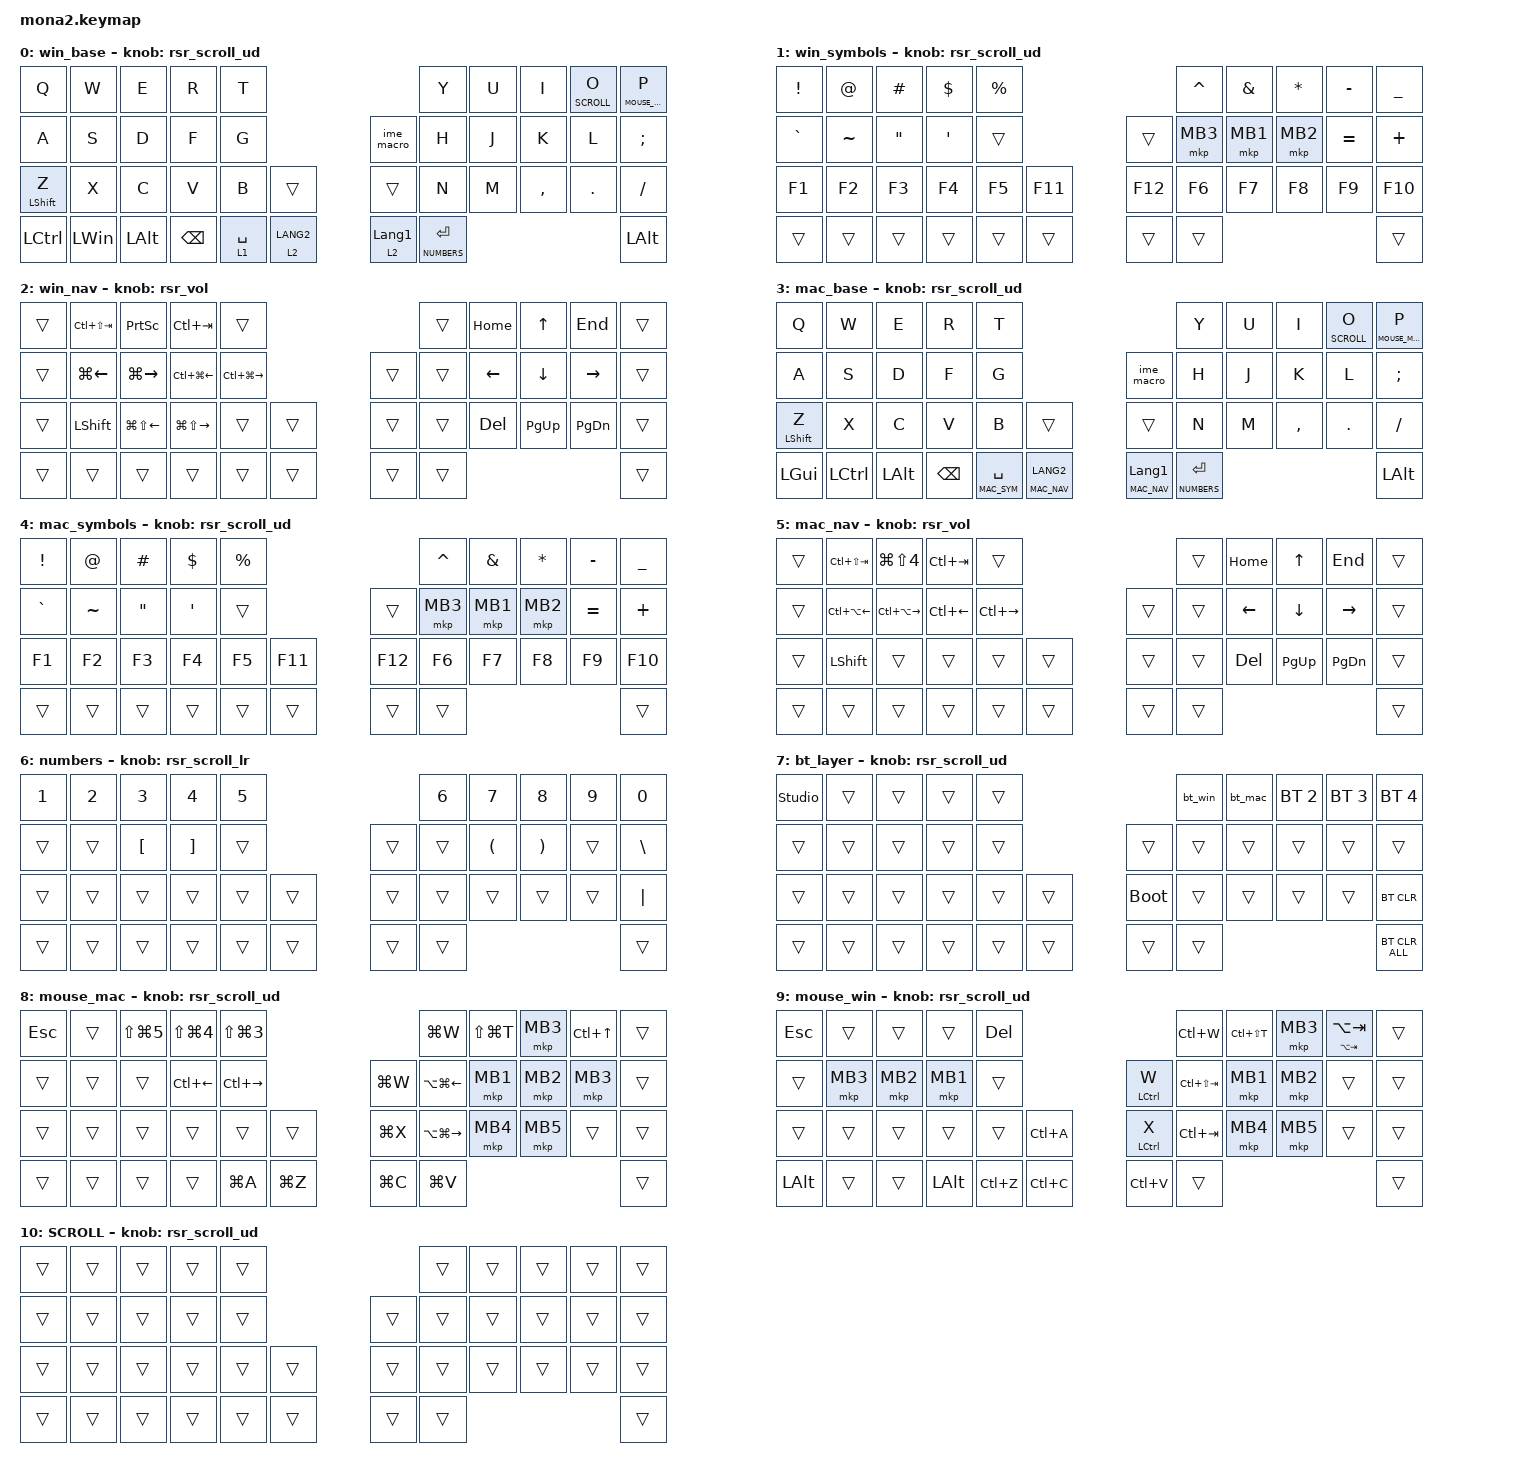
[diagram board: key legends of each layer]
#include <input/processors.dtsi>
#include <input/processors/runtime-input-processor.dtsi>
#include <behaviors/runtime-sensor-rotate.dtsi>
#include <dt-bindings/zmk/input_transform.h>
#include <zephyr/dt-bindings/input/input-event-codes.h>
#include <behaviors.dtsi>
#include <dt-bindings/zmk/bt.h>
#include <dt-bindings/zmk/keys.h>
#include <dt-bindings/zmk/pointing.h>

#undef ZMK_POINTING_DEFAULT_SCRL_VAL
#define ZMK_POINTING_DEFAULT_SCRL_VAL 30
#define MAC_BASE 3
#define MAC_SYM 4
#define MAC_NAV 5
#define NUMBERS 6
#define BT_LAYER 7
#define MOUSE_MAC 8
#define MOUSE_WIN 9
#define SCROLL 10

&mt {
    flavor = "balanced";
    quick-tap-ms = <0>;
};

&lt {
    quick-tap-ms = <300>;
    flavor = "balanced";
};

/ {
    combos {
        compatible = "zmk,combos";

        bt_layer_ESC {
            bindings = <&lt BT_LAYER ESC>;
            key-positions = <39 38>;
        };

        tab {
            bindings = <&kp TAB>;
            key-positions = <11 12>;
        };
    };

    macros {
        to_layer_0: to_layer_0 {
            compatible = "zmk,behavior-macro-one-param";
            #binding-cells = <1>;
            bindings = <&to 0 &macro_param_1to1 &kp MACRO_PLACEHOLDER>;
            label = "TO_LAYER_0";
        };

        ime_macro: ime_macro {
            compatible = "zmk,behavior-macro";
            #binding-cells = <0>;
            bindings = <&kp F13>;
            label = "IME_MACRO";
        };

        bt_win: bt_win {
            compatible = "zmk,behavior-macro";
            #binding-cells = <0>;
            bindings = <&bt BT_SEL 0>, <&to 0>;
            label = "BT_WIN";
        };

        bt_mac: bt_mac {
            compatible = "zmk,behavior-macro";
            #binding-cells = <0>;
            bindings = <&bt BT_SEL 1>, <&to 0>, <&tog MAC_BASE>;
            label = "BT_MAC";
        };
    };

    behaviors {
        lt_to_layer_0: lt_to_layer_0 {
            compatible = "zmk,behavior-hold-tap";
            label = "LAYER_TAP_TO_0";
            bindings = <&mo>, <&to_layer_0>;

            #binding-cells = <2>;
            tapping-term-ms = <200>;
        };

        // DYA Studio: Runtime sensor rotate behaviors for encoder
        rsr_vol: rsr_vol {
            compatible = "zmk,behavior-runtime-sensor-rotate";
            #sensor-binding-cells = <0>;
            tap-ms = <20>;
            cw-binding = <&kp C_VOL_DN>;
            ccw-binding = <&kp C_VOL_UP>;
        };

        rsr_scroll_ud: rsr_scroll_ud {
            compatible = "zmk,behavior-runtime-sensor-rotate";
            #sensor-binding-cells = <0>;
            tap-ms = <20>;
            cw-binding = <&msc SCRL_DOWN>;
            ccw-binding = <&msc SCRL_UP>;
        };

        rsr_scroll_lr: rsr_scroll_lr {
            compatible = "zmk,behavior-runtime-sensor-rotate";
            #sensor-binding-cells = <0>;
            tap-ms = <20>;
            cw-binding = <&msc SCRL_LEFT>;
            ccw-binding = <&msc SCRL_RIGHT>;
        };
    };

    keymap {
        compatible = "zmk,keymap";

        // ==========================================
        // Layer 0: Windows Base
        // ==========================================

        win_base {
            bindings = <
&kp Q             &kp W         &kp E     &kp R          &kp T                                                                  &kp Y        &kp U  &kp I      &lt SCROLL O  &lt MOUSE_WIN P
&kp A             &kp S         &kp D     &kp F          &kp G                                  &ime_macro                       &kp H        &kp J  &kp K      &kp L         &kp SEMICOLON
&mt LEFT_SHIFT Z  &kp X         &kp C     &kp V          &kp B        &trans                     &trans                           &kp N        &kp M  &kp COMMA  &kp DOT       &kp SLASH
&kp LCTRL         &kp LEFT_WIN  &kp LALT  &kp BACKSPACE  &lt 1 SPACE  &lt_to_layer_0 2 LANG2     &lt_to_layer_0 2 LANGUAGE_1      &lt NUMBERS ENTER                            &kp LEFT_ALT
            >;

            sensor-bindings = <&rsr_scroll_ud>;
        };

        // ==========================================
        // Layer 1: Windows Symbols
        // ==========================================

        win_symbols {
            bindings = <
&kp EXCLAMATION  &kp AT_SIGN  &kp POUND          &kp DOLLAR  &kp PERCENT                      &kp CARET  &kp AMPERSAND  &kp ASTERISK  &kp MINUS  &kp UNDERSCORE
&kp GRAVE        &kp TILDE    &kp DOUBLE_QUOTES  &kp SQT     &trans                  &trans   &mkp MB3   &mkp MB1       &mkp MB2      &kp EQUAL  &kp PLUS
&kp F1           &kp F2       &kp F3             &kp F4      &kp F5       &kp F11    &kp F12  &kp F6     &kp F7         &kp F8        &kp F9     &kp F10
&trans           &trans       &trans             &trans      &trans       &trans     &trans   &trans                                             &trans
            >;

            sensor-bindings = <&rsr_scroll_ud>;
        };

        // ==========================================
        // Layer 2: Windows Nav
        // ==========================================

        win_nav {
            bindings = <
&trans  &kp LC(LS(TAB))     &kp PRINTSCREEN         &kp LC(TAB)              &trans                                     &trans  &kp HOME        &kp UP_ARROW    &kp END          &trans
&trans  &kp LG(LEFT_ARROW)  &kp LG(RIGHT_ARROW)     &kp LC(LG(LEFT_ARROW))   &kp LC(LG(RIGHT_ARROW))            &trans  &trans  &kp LEFT_ARROW  &kp DOWN_ARROW  &kp RIGHT_ARROW  &trans
&trans  &kp LEFT_SHIFT      &kp LG(LS(LEFT_ARROW))  &kp LG(LS(RIGHT_ARROW))  &trans                   &trans    &trans  &trans  &kp DELETE      &kp PAGE_UP     &kp PAGE_DOWN    &trans
&trans  &trans              &trans                  &trans                   &trans                   &trans    &trans  &trans                                                   &trans
            >;

            sensor-bindings = <&rsr_vol>;
        };

        // ==========================================
        // Layer 3: Mac Base
        // ==========================================

        mac_base {
            bindings = <
&kp Q             &kp W      &kp E     &kp R          &kp T                                                            &kp Y        &kp U  &kp I      &lt SCROLL O  &lt MOUSE_MAC P
&kp A             &kp S      &kp D     &kp F          &kp G                              &ime_macro                    &kp H        &kp J  &kp K      &kp L         &kp SEMICOLON
&mt LEFT_SHIFT Z  &kp X      &kp C     &kp V          &kp B          &trans               &trans                        &kp N        &kp M  &kp COMMA  &kp DOT       &kp SLASH
&kp LGUI          &kp LCTRL  &kp LALT  &kp BACKSPACE  &lt MAC_SYM SPACE  &lt MAC_NAV LANG2  &lt MAC_NAV LANGUAGE_1       &lt NUMBERS ENTER                            &kp LALT
            >;

            sensor-bindings = <&rsr_scroll_ud>;
        };

        // ==========================================
        // Layer 4: Mac Symbols
        // ==========================================

        mac_symbols {
            bindings = <
&kp EXCLAMATION  &kp AT_SIGN  &kp POUND          &kp DOLLAR  &kp PERCENT                      &kp CARET  &kp AMPERSAND  &kp ASTERISK  &kp MINUS  &kp UNDERSCORE
&kp GRAVE        &kp TILDE    &kp DOUBLE_QUOTES  &kp SQT     &trans                  &trans   &mkp MB3   &mkp MB1       &mkp MB2      &kp EQUAL  &kp PLUS
&kp F1           &kp F2       &kp F3             &kp F4      &kp F5       &kp F11    &kp F12  &kp F6     &kp F7         &kp F8        &kp F9     &kp F10
&trans           &trans       &trans             &trans      &trans       &trans     &trans   &trans                                             &trans
            >;

            sensor-bindings = <&rsr_scroll_ud>;
        };

        // ==========================================
        // Layer 5: Mac Nav
        // ==========================================

        mac_nav {
            bindings = <
&trans  &kp LC(LS(TAB))        &kp LG(LS(NUMBER_4))    &kp LC(TAB)          &trans                                     &trans  &kp HOME        &kp UP_ARROW    &kp END          &trans
&trans  &kp LC(LA(LEFT_ARROW)) &kp LC(LA(RIGHT_ARROW))  &kp LC(LEFT_ARROW)   &kp LC(RIGHT_ARROW)            &trans      &trans  &kp LEFT_ARROW  &kp DOWN_ARROW  &kp RIGHT_ARROW  &trans
&trans  &kp LEFT_SHIFT         &trans                   &trans               &trans                &trans    &trans      &trans  &kp DELETE      &kp PAGE_UP     &kp PAGE_DOWN    &trans
&trans  &trans                 &trans                   &trans               &trans                &trans    &trans      &trans                                                   &trans
            >;

            sensor-bindings = <&rsr_vol>;
        };

        // ==========================================
        // Layer 6: Numbers (共通 — Mac/Win両方より上)
        // ==========================================

        numbers {
            bindings = <
&kp NUMBER_1  &kp NUMBER_2  &kp NUMBER_3      &kp NUMBER_4       &kp NUMBER_5                    &kp NUMBER_6  &kp NUMBER_7          &kp NUMBER_8           &kp NUMBER_9  &kp NUMBER_0
&trans        &trans        &kp LEFT_BRACKET  &kp RIGHT_BRACKET  &trans                  &trans  &trans        &kp LEFT_PARENTHESIS  &kp RIGHT_PARENTHESIS  &trans        &kp BACKSLASH
&trans        &trans        &trans            &trans             &trans        &trans    &trans  &trans        &trans                &trans                 &trans        &kp PIPE
&trans        &trans        &trans            &trans             &trans        &trans    &trans  &trans                                                                   &trans
            >;

            sensor-bindings = <&rsr_scroll_lr>;
        };

        // ==========================================
        // Layer 7: BT Layer
        // ==========================================

        bt_layer {
            bindings = <
&studio_unlock  &trans  &trans  &trans  &trans                         &bt_win       &bt_mac       &bt BT_SEL 2  &bt BT_SEL 3  &bt BT_SEL 4
&trans          &trans  &trans  &trans  &trans            &trans       &trans        &trans        &trans        &trans        &trans
&trans          &trans  &trans  &trans  &trans  &trans    &bootloader  &trans        &trans        &trans        &trans        &bt BT_CLR
&trans          &trans  &trans  &trans  &trans  &trans    &trans       &trans                                                  &bt BT_CLR_ALL
            >;

            sensor-bindings = <&rsr_scroll_ud>;
        };

        // ==========================================
        // Layer 8: Mouse Mac
        // ==========================================

        mouse_mac {
            bindings = <
&kp ESC  &trans    &kp LS(LG(N5))  &kp LS(LG(N4))  &kp LS(LG(N3))                                       &kp LG(W)  &kp LS(LG(T))      &mkp MB3  &kp LC(UP_ARROW)  &trans
&trans   &trans    &trans           &kp LC(LEFT)    &kp LC(RIGHT)                        &kp LG(W)      &kp LA(LG(LEFT))   &mkp MB1  &mkp MB2          &mkp MB3  &trans
&trans   &trans    &trans           &trans          &trans          &trans                &kp LG(X)     &kp LA(LG(RIGHT))  &mkp MB4  &mkp MB5          &trans    &trans
&trans   &trans    &trans           &trans          &kp LG(A)       &kp LG(Z)             &kp LG(C)     &kp LG(V)                                                &trans
            >;

            sensor-bindings = <&rsr_scroll_ud>;
        };

        // ==========================================
        // Layer 9: Mouse Win
        // ==========================================

        mouse_win {
            bindings = <
&kp ESC   &trans    &trans    &trans    &kp DEL                                               &kp LC(W)          &kp LC(LS(T))     &mkp MB3  &mt LA(TAB) LA(TAB)  &trans
&trans    &mkp MB3  &mkp MB2  &mkp MB1  &trans                                &mt LCTRL W     &kp LC(LS(TAB))    &mkp MB1          &mkp MB2  &trans               &trans
&trans    &trans    &trans    &trans    &trans           &kp LC(A)            &mt LCTRL X     &kp LC(TAB)        &mkp MB4          &mkp MB5  &trans               &trans
&kp LALT  &trans    &trans    &kp LALT  &kp LC(Z)        &kp LC(C)            &kp LC(V)       &trans                                                               &trans
            >;

            sensor-bindings = <&rsr_scroll_ud>;
        };

        // ==========================================
        // Layer 10: Scroll
        // ==========================================

        SCROLL {
            bindings = <
&trans  &trans  &trans  &trans  &trans                    &trans  &trans  &trans  &trans  &trans
&trans  &trans  &trans  &trans  &trans            &trans  &trans  &trans  &trans  &trans  &trans
&trans  &trans  &trans  &trans  &trans  &trans    &trans  &trans  &trans  &trans  &trans  &trans
&trans  &trans  &trans  &trans  &trans  &trans    &trans  &trans                          &trans
            >;

            sensor-bindings = <&rsr_scroll_ud>;
        };
    };
};
